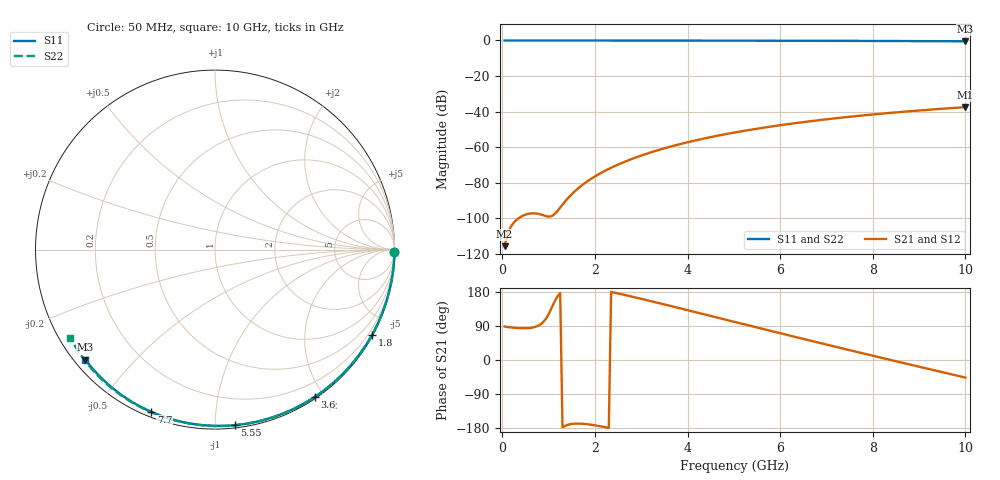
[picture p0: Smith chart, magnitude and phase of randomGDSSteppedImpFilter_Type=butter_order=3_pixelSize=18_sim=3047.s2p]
! freq	dB(S11)	phase(S11)	dB(S12)	phase(S12)
!  dB(S21)	phase(S21)	dB(S22)	phase(S22)
!S-par simulation data
#  GHz  S  DB  R 50
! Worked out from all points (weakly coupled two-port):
!   200 points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, 50 MHz to 10 GHz, reference 50 ohm
!   highest |S21| = -37.50 dB at 10 GHz (marker M1); lowest = -115.7 dB at 50 MHz (marker M2)
!   lowest |S11| = -0.5 dB at 10 GHz (marker M3), VSWR 36.77, Z = 1.54 - j18.3 ohm
!   |S11| at or under -10 dB: nowhere
!   |S22| runs from -0.5 to 0.0 dB; largest |S21 - S12| = 0
!   S11 on the Smith chart (normalised r, x): 50 MHz: open; 1.8 GHz: 0.03, -3.91; 3.6 GHz: 0.02, -1.88; 5.55 GHz: 0.02, -1.12; 7.7 GHz: 0.02, -0.68; 10 GHz: 0.03, -0.37
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0.05  -0.00 -0.8  -115.69 88.5  -115.69 88.5  -0.00 -0.9
0.45  -0.01 -7.3  -98.47 83.9  -98.47 83.9  -0.01 -7.8
0.9  -0.02 -14.5  -98.42 102.3  -98.42 102.3  -0.02 -15.4
1.3  -0.03 -20.8  -92.29 -178.0  -92.29 -178.0  -0.03 -22.2
1.75  -0.04 -27.9  -80.84 -168.5  -80.84 -168.5  -0.04 -29.7
1.8  -0.04 -28.7  -79.88 -169.0  -79.88 -169.0  -0.04 -30.5
1.95  -0.04 -31.0  -77.26 -171.4  -77.26 -171.4  -0.04 -33.0
2.1  -0.04 -33.3  -74.95 -174.4  -74.95 -174.4  -0.05 -35.5
2.3  -0.05 -36.4  -72.21 -179.2  -72.21 -179.2  -0.05 -38.8
2.5  -0.05 -39.5  -69.79 175.6  -69.79 175.6  -0.05 -42.0
2.9  -0.06 -45.6  -65.64 164.4  -65.64 164.4  -0.06 -48.5
3.4  -0.07 -53.0  -61.39 149.7  -61.39 149.7  -0.08 -56.4
3.6  -0.08 -56.0  -59.91 143.7  -59.91 143.7  -0.08 -59.5
4.3  -0.09 -66.1  -55.45 122.4  -55.45 122.4  -0.10 -70.2
5.05  -0.12 -76.6  -51.59 99.5  -51.59 99.5  -0.13 -81.4
5.55  -0.14 -83.5  -49.41 84.3  -49.41 84.3  -0.15 -88.6
6.1  -0.16 -90.8  -47.29 67.7  -47.29 67.7  -0.17 -96.4
6.7  -0.19 -98.7  -45.26 49.7  -45.26 49.7  -0.20 -104.7
7.7  -0.26 -111.4  -42.38 20.0  -42.38 20.0  -0.27 -118.2
8.35  -0.31 -119.5  -40.79 1.1  -40.79 1.1  -0.33 -126.8
9.2  -0.38 -129.9  -38.97 -23.5  -38.97 -23.5  -0.41 -138.0
10  -0.47 -139.7  -37.50 -46.4  -37.50 -46.4  -0.50 -148.6
